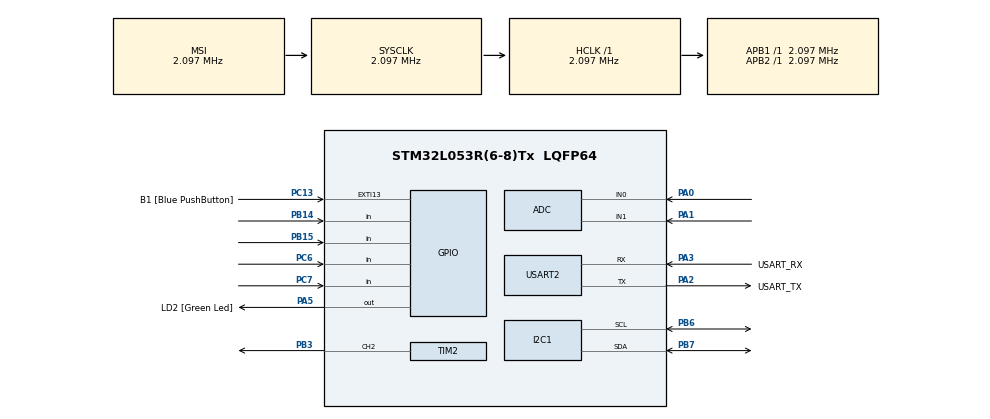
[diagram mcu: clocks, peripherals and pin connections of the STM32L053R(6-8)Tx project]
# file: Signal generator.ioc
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Mcu.Family=STM32L0
Mcu.Name=STM32L053R(6-8)Tx
Mcu.Package=LQFP64
NVIC.TIM22_IRQn=true\:0\:0\:false\:false\:true\:true\:true
PA0.Mode=IN0
PA0.Signal=ADC_IN0
PA1.Mode=IN1
PA1.Signal=ADC_IN1
PA13.GPIO_Label=TMS
PA13.Mode=Serial_Wire
PA13.Signal=SYS_SWDIO
PA14.GPIO_Label=TCK
PA14.Mode=Serial_Wire
PA14.Signal=SYS_SWCLK
PA2.GPIO_Label=USART_TX
PA2.Mode=Asynchronous
PA2.Signal=USART2_TX
PA3.GPIO_Label=USART_RX
PA3.Mode=Asynchronous
PA3.Signal=USART2_RX
PA5.GPIO_Label=LD2 [Green Led]
PA5.Signal=GPIO_Output
PB14.GPIO_PuPd=GPIO_PULLDOWN
PB14.Signal=GPIO_Input
PB15.GPIO_PuPd=GPIO_PULLDOWN
PB15.Signal=GPIO_Input
PB3.Signal=S_TIM2_CH2
PB6.Mode=I2C
PB6.Signal=I2C1_SCL
PB7.Mode=I2C
PB7.Signal=I2C1_SDA
PC13.GPIO_Label=B1 [Blue PushButton]
PC13.GPIO_ModeDefaultEXTI=GPIO_MODE_IT_FALLING
PC13.Signal=GPXTI13
PC14-OSC32_IN.Mode=LSE-External-Oscillator
PC14-OSC32_IN.Signal=RCC_OSC32_IN
PC15-OSC32_OUT.Mode=LSE-External-Oscillator
PC15-OSC32_OUT.Signal=RCC_OSC32_OUT
PC6.GPIO_PuPd=GPIO_PULLDOWN
PC6.Signal=GPIO_Input
PC7.GPIO_PuPd=GPIO_PULLDOWN
PC7.Signal=GPIO_Input
PH0-OSC_IN.Mode=HSE-External-Clock-Source
PH0-OSC_IN.Signal=RCC_OSC_IN
PH1-OSC_OUT.Signal=RCC_OSC_OUT
ProjectManager.HeapSize=0x200
ProjectManager.StackSize=0x400
ProjectManager.TargetToolchain=MDK-ARM V5
RCC.AHBFreq_Value=2097000
RCC.APB1Freq_Value=2097000
RCC.APB1TimFreq_Value=2097000
RCC.APB2Freq_Value=2097000
RCC.APB2TimFreq_Value=2097000
RCC.HSE_VALUE=8000000
RCC.HSI16_VALUE=16000000
RCC.HSI48_VALUE=48000000
RCC.HSI_VALUE=16000000
RCC.MSI_VALUE=2097000
RCC.SYSCLKFreq_VALUE=2097000
RCC.VCOOutputFreq_Value=48000000
SH.S_TIM2_CH2.0=TIM2_CH2,PWM Generation2 CH2
TIM2.Channel-PWM\ Generation2\ CH2=TIM_CHANNEL_2
TIM2.Period=7199
TIM2.Prescaler=0
TIM22.Period=999
TIM22.Prescaler=71
USART2.VirtualMode-Asynchronous=VM_ASYNC
VP_IWDG_VS_IWDG.Mode=IWDG_Activate
VP_TIM22_VS_ClockSourceINT.Mode=Internal
VP_TIM2_VS_ClockSourceINT.Mode=Internal
board=NUCLEO-L053R8

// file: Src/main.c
/* USER CODE BEGIN Header */
/**
  ******************************************************************************
  * @file           : main.c
  * @brief          : Main program body
  ******************************************************************************
  * @attention
  *
  * <h2><center>&copy; Copyright (c) 2020 STMicroelectronics.
  * All rights reserved.</center></h2>
  *
  * This software component is licensed by ST under BSD 3-Clause license,
  * the "License"; You may not use this file except in compliance with the
  * License. You may obtain a copy of the License at:
  *                        opensource.org/licenses/BSD-3-Clause
  *
  ******************************************************************************
  */
/* USER CODE END Header */

#include "main.h"

/* USER CODE BEGIN Includes */
#include <math.h>
#include <stdio.h>
#include "i2c-lcd.h"
/* USER CODE END Includes */

ADC_HandleTypeDef hadc;

I2C_HandleTypeDef hi2c1;

IWDG_HandleTypeDef hiwdg;

TIM_HandleTypeDef htim2;
TIM_HandleTypeDef htim22;

UART_HandleTypeDef huart2;

void SystemClock_Config(void);
static void MX_GPIO_Init(void);
static void MX_ADC_Init(void);
static void MX_I2C1_Init(void);
static void MX_IWDG_Init(void);
static void MX_TIM2_Init(void);
static void MX_TIM22_Init(void);
static void MX_USART2_UART_Init(void);

/* USER CODE BEGIN 0 */
uint16_t sineOut[50];
void sine(double amplitude, double frequency)
{
	double period = 1 / (frequency * 50);
	uint16_t amp = (amplitude / 0.0008059);
	for(int i = 0; i < sizeof(sineOut)/sizeof(sineOut[0]); i++)
	{
		sineOut[i] = amp * sin(2* 3.14 * frequency * period * i);
	}
}
uint16_t rampOut[50];
void ramp(double amplitude, double frequency)
{
	double period = 1 / (frequency * 50);
	uint16_t amp = (amplitude / 0.0008059);
	for(int i = 0; i < sizeof(rampOut)/sizeof(rampOut[0]); i++)
	{
		rampOut[i] = amp * period * i;
	}
}
uint16_t squareWaveOut[50];
void squareWave(double amplitude, double frequency)
{
	double period = 1 / (frequency * 50);
	uint16_t amp = (amplitude / 0.0008059);
	//FOURIER SERIES FOR SQUARE WAVE
}

#define SIZE(x)					(sizeof(x)/sizeof(x[0]))
#define SLAVE_ADDRESS_LCD 0x4E

uint16_t *ptr_buf = sineOut;
uint16_t size_buf = SIZE(sineOut);
uint16_t idx_buf=0;

void gera_sinal(uint16_t *sinal, uint16_t size)
{
	ptr_buf = sinal;
	size_buf = size;
}

// Função executada a cada 1 ms
void user_timer(void)
{
	__HAL_TIM_SetCompare(&htim2, TIM_CHANNEL_2, ptr_buf[idx_buf]);
	if(++idx_buf >= size_buf) { idx_buf = 0; }
}

int fputc(int ch, FILE *f)
{
	HAL_UART_Transmit(&huart2, (uint8_t *)&ch, 1, 0xFFFF);
	return ch;
}

/* USER CODE END 0 */

int main(void)
{

  /* MCU Configuration--------------------------------------------------------*/

  /* Reset of all peripherals, Initializes the Flash interface and the Systick. */
  HAL_Init();

  /* Configure the system clock */
  SystemClock_Config();

  /* Initialize all configured peripherals */
  MX_GPIO_Init();
  MX_ADC_Init();
  MX_I2C1_Init();
  MX_IWDG_Init();
  MX_TIM2_Init();
  MX_TIM22_Init();
  MX_USART2_UART_Init();
  /* USER CODE BEGIN 2 */
	HAL_TIM_Base_Start_IT(&htim22);
	HAL_TIM_PWM_Start(&htim2, TIM_CHANNEL_2);
	sine(2, 60);
	gera_sinal(sineOut, SIZE(sineOut));
	lcd_init();
	lcd_put_cur(1, 0);
	lcd_send_data('H');
  /* USER CODE END 2 */

  /* Infinite loop */
  while (1)
  {

  }
}

void SystemClock_Config(void)
{
  RCC_OscInitTypeDef RCC_OscInitStruct = {0};
  RCC_ClkInitTypeDef RCC_ClkInitStruct = {0};
  RCC_PeriphCLKInitTypeDef PeriphClkInit = {0};

  /** Configure the main internal regulator output voltage
  */
  __HAL_PWR_VOLTAGESCALING_CONFIG(PWR_REGULATOR_VOLTAGE_SCALE1);
  /** Initializes the CPU, AHB and APB busses clocks
  */
  RCC_OscInitStruct.OscillatorType = RCC_OSCILLATORTYPE_LSI|RCC_OSCILLATORTYPE_MSI;
  RCC_OscInitStruct.LSIState = RCC_LSI_ON;
  RCC_OscInitStruct.MSIState = RCC_MSI_ON;
  RCC_OscInitStruct.MSICalibrationValue = 0;
  RCC_OscInitStruct.MSIClockRange = RCC_MSIRANGE_5;
  RCC_OscInitStruct.PLL.PLLState = RCC_PLL_NONE;
  if (HAL_RCC_OscConfig(&RCC_OscInitStruct) != HAL_OK)
  {
    Error_Handler();
  }
  /** Initializes the CPU, AHB and APB busses clocks
  */
  RCC_ClkInitStruct.ClockType = RCC_CLOCKTYPE_HCLK|RCC_CLOCKTYPE_SYSCLK
                              |RCC_CLOCKTYPE_PCLK1|RCC_CLOCKTYPE_PCLK2;
  RCC_ClkInitStruct.SYSCLKSource = RCC_SYSCLKSOURCE_MSI;
  RCC_ClkInitStruct.AHBCLKDivider = RCC_SYSCLK_DIV1;
  RCC_ClkInitStruct.APB1CLKDivider = RCC_HCLK_DIV1;
  RCC_ClkInitStruct.APB2CLKDivider = RCC_HCLK_DIV1;

  if (HAL_RCC_ClockConfig(&RCC_ClkInitStruct, FLASH_LATENCY_0) != HAL_OK)
  {
    Error_Handler();
  }
  PeriphClkInit.PeriphClockSelection = RCC_PERIPHCLK_USART2|RCC_PERIPHCLK_I2C1;
  PeriphClkInit.Usart2ClockSelection = RCC_USART2CLKSOURCE_PCLK1;
  PeriphClkInit.I2c1ClockSelection = RCC_I2C1CLKSOURCE_PCLK1;
  if (HAL_RCCEx_PeriphCLKConfig(&PeriphClkInit) != HAL_OK)
  {
    Error_Handler();
  }
}

static void MX_ADC_Init(void)
{

  ADC_ChannelConfTypeDef sConfig = {0};

  /** Configure the global features of the ADC (Clock, Resolution, Data Alignment and number of conversion)
  */
  hadc.Instance = ADC1;
  hadc.Init.OversamplingMode = DISABLE;
  hadc.Init.ClockPrescaler = ADC_CLOCK_SYNC_PCLK_DIV1;
  hadc.Init.Resolution = ADC_RESOLUTION_12B;
  hadc.Init.SamplingTime = ADC_SAMPLETIME_1CYCLE_5;
  hadc.Init.ScanConvMode = ADC_SCAN_DIRECTION_FORWARD;
  hadc.Init.DataAlign = ADC_DATAALIGN_RIGHT;
  hadc.Init.ContinuousConvMode = DISABLE;
  hadc.Init.DiscontinuousConvMode = DISABLE;
  hadc.Init.ExternalTrigConvEdge = ADC_EXTERNALTRIGCONVEDGE_NONE;
  hadc.Init.ExternalTrigConv = ADC_SOFTWARE_START;
  hadc.Init.DMAContinuousRequests = DISABLE;
  hadc.Init.EOCSelection = ADC_EOC_SINGLE_CONV;
  hadc.Init.Overrun = ADC_OVR_DATA_PRESERVED;
  hadc.Init.LowPowerAutoWait = DISABLE;
  hadc.Init.LowPowerFrequencyMode = DISABLE;
  hadc.Init.LowPowerAutoPowerOff = DISABLE;
  if (HAL_ADC_Init(&hadc) != HAL_OK)
  {
    Error_Handler();
  }
  /** Configure for the selected ADC regular channel to be converted.
  */
  sConfig.Channel = ADC_CHANNEL_0;
  sConfig.Rank = ADC_RANK_CHANNEL_NUMBER;
  if (HAL_ADC_ConfigChannel(&hadc, &sConfig) != HAL_OK)
  {
    Error_Handler();
  }
  /** Configure for the selected ADC regular channel to be converted.
  */
  sConfig.Channel = ADC_CHANNEL_1;
  if (HAL_ADC_ConfigChannel(&hadc, &sConfig) != HAL_OK)
  {
    Error_Handler();
  }

}

static void MX_I2C1_Init(void)
{

  hi2c1.Instance = I2C1;
  hi2c1.Init.Timing = 0x00000708;
  hi2c1.Init.OwnAddress1 = 0;
  hi2c1.Init.AddressingMode = I2C_ADDRESSINGMODE_7BIT;
  hi2c1.Init.DualAddressMode = I2C_DUALADDRESS_DISABLE;
  hi2c1.Init.OwnAddress2 = 0;
  hi2c1.Init.OwnAddress2Masks = I2C_OA2_NOMASK;
  hi2c1.Init.GeneralCallMode = I2C_GENERALCALL_DISABLE;
  hi2c1.Init.NoStretchMode = I2C_NOSTRETCH_DISABLE;
  if (HAL_I2C_Init(&hi2c1) != HAL_OK)
  {
    Error_Handler();
  }
  /** Configure Analogue filter
  */
  if (HAL_I2CEx_ConfigAnalogFilter(&hi2c1, I2C_ANALOGFILTER_ENABLE) != HAL_OK)
  {
    Error_Handler();
  }
  /** Configure Digital filter
  */
  if (HAL_I2CEx_ConfigDigitalFilter(&hi2c1, 0) != HAL_OK)
  {
    Error_Handler();
  }

}

static void MX_IWDG_Init(void)
{

  hiwdg.Instance = IWDG;
  hiwdg.Init.Prescaler = IWDG_PRESCALER_4;
  hiwdg.Init.Window = 4095;
  hiwdg.Init.Reload = 4095;
  if (HAL_IWDG_Init(&hiwdg) != HAL_OK)
  {
    Error_Handler();
  }

}

static void MX_TIM2_Init(void)
{

  TIM_ClockConfigTypeDef sClockSourceConfig = {0};
  TIM_MasterConfigTypeDef sMasterConfig = {0};
  TIM_OC_InitTypeDef sConfigOC = {0};

  htim2.Instance = TIM2;
  htim2.Init.Prescaler = 0;
  htim2.Init.CounterMode = TIM_COUNTERMODE_UP;
  htim2.Init.Period = 7199;
  htim2.Init.ClockDivision = TIM_CLOCKDIVISION_DIV1;
  htim2.Init.AutoReloadPreload = TIM_AUTORELOAD_PRELOAD_DISABLE;
  if (HAL_TIM_Base_Init(&htim2) != HAL_OK)
  {
    Error_Handler();
  }
  sClockSourceConfig.ClockSource = TIM_CLOCKSOURCE_INTERNAL;
  if (HAL_TIM_ConfigClockSource(&htim2, &sClockSourceConfig) != HAL_OK)
  {
    Error_Handler();
  }
  if (HAL_TIM_PWM_Init(&htim2) != HAL_OK)
  {
    Error_Handler();
  }
  sMasterConfig.MasterOutputTrigger = TIM_TRGO_RESET;
  sMasterConfig.MasterSlaveMode = TIM_MASTERSLAVEMODE_DISABLE;
  if (HAL_TIMEx_MasterConfigSynchronization(&htim2, &sMasterConfig) != HAL_OK)
  {
    Error_Handler();
  }
  sConfigOC.OCMode = TIM_OCMODE_PWM1;
  sConfigOC.Pulse = 0;
  sConfigOC.OCPolarity = TIM_OCPOLARITY_HIGH;
  sConfigOC.OCFastMode = TIM_OCFAST_DISABLE;
  if (HAL_TIM_PWM_ConfigChannel(&htim2, &sConfigOC, TIM_CHANNEL_2) != HAL_OK)
  {
    Error_Handler();
  }
  HAL_TIM_MspPostInit(&htim2);

}

static void MX_TIM22_Init(void)
{

  TIM_ClockConfigTypeDef sClockSourceConfig = {0};
  TIM_MasterConfigTypeDef sMasterConfig = {0};

  htim22.Instance = TIM22;
  htim22.Init.Prescaler = 71;
  htim22.Init.CounterMode = TIM_COUNTERMODE_UP;
  htim22.Init.Period = 999;
  htim22.Init.ClockDivision = TIM_CLOCKDIVISION_DIV1;
  htim22.Init.AutoReloadPreload = TIM_AUTORELOAD_PRELOAD_DISABLE;
  if (HAL_TIM_Base_Init(&htim22) != HAL_OK)
  {
    Error_Handler();
  }
  sClockSourceConfig.ClockSource = TIM_CLOCKSOURCE_INTERNAL;
  if (HAL_TIM_ConfigClockSource(&htim22, &sClockSourceConfig) != HAL_OK)
  {
    Error_Handler();
  }
  sMasterConfig.MasterOutputTrigger = TIM_TRGO_RESET;
  sMasterConfig.MasterSlaveMode = TIM_MASTERSLAVEMODE_DISABLE;
  if (HAL_TIMEx_MasterConfigSynchronization(&htim22, &sMasterConfig) != HAL_OK)
  {
    Error_Handler();
  }

}

static void MX_USART2_UART_Init(void)
{

  huart2.Instance = USART2;
  huart2.Init.BaudRate = 115200;
  huart2.Init.WordLength = UART_WORDLENGTH_8B;
  huart2.Init.StopBits = UART_STOPBITS_1;
  huart2.Init.Parity = UART_PARITY_NONE;
  huart2.Init.Mode = UART_MODE_TX_RX;
  huart2.Init.HwFlowCtl = UART_HWCONTROL_NONE;
  huart2.Init.OverSampling = UART_OVERSAMPLING_16;
  huart2.Init.OneBitSampling = UART_ONE_BIT_SAMPLE_DISABLE;
  huart2.AdvancedInit.AdvFeatureInit = UART_ADVFEATURE_NO_INIT;
  if (HAL_UART_Init(&huart2) != HAL_OK)
  {
    Error_Handler();
  }

}

static void MX_GPIO_Init(void)
{
  GPIO_InitTypeDef GPIO_InitStruct = {0};

  /* GPIO Ports Clock Enable */
  __HAL_RCC_GPIOC_CLK_ENABLE();
  __HAL_RCC_GPIOH_CLK_ENABLE();
  __HAL_RCC_GPIOA_CLK_ENABLE();
  __HAL_RCC_GPIOB_CLK_ENABLE();

  /*Configure GPIO pin Output Level */
  HAL_GPIO_WritePin(LD2_GPIO_Port, LD2_Pin, GPIO_PIN_RESET);

  /*Configure GPIO pin : B1_Pin */
  GPIO_InitStruct.Pin = B1_Pin;
  GPIO_InitStruct.Mode = GPIO_MODE_IT_FALLING;
  GPIO_InitStruct.Pull = GPIO_NOPULL;
  HAL_GPIO_Init(B1_GPIO_Port, &GPIO_InitStruct);

  /*Configure GPIO pin : LD2_Pin */
  GPIO_InitStruct.Pin = LD2_Pin;
  GPIO_InitStruct.Mode = GPIO_MODE_OUTPUT_PP;
  GPIO_InitStruct.Pull = GPIO_NOPULL;
  GPIO_InitStruct.Speed = GPIO_SPEED_FREQ_LOW;
  HAL_GPIO_Init(LD2_GPIO_Port, &GPIO_InitStruct);

  /*Configure GPIO pins : PB14 PB15 */
  GPIO_InitStruct.Pin = GPIO_PIN_14|GPIO_PIN_15;
  GPIO_InitStruct.Mode = GPIO_MODE_INPUT;
  GPIO_InitStruct.Pull = GPIO_PULLDOWN;
  HAL_GPIO_Init(GPIOB, &GPIO_InitStruct);

  /*Configure GPIO pins : PC6 PC7 */
  GPIO_InitStruct.Pin = GPIO_PIN_6|GPIO_PIN_7;
  GPIO_InitStruct.Mode = GPIO_MODE_INPUT;
  GPIO_InitStruct.Pull = GPIO_PULLDOWN;
  HAL_GPIO_Init(GPIOC, &GPIO_InitStruct);

}

void Error_Handler(void)
{
}

/************************ (C) COPYRIGHT STMicroelectronics *****END OF FILE****/
